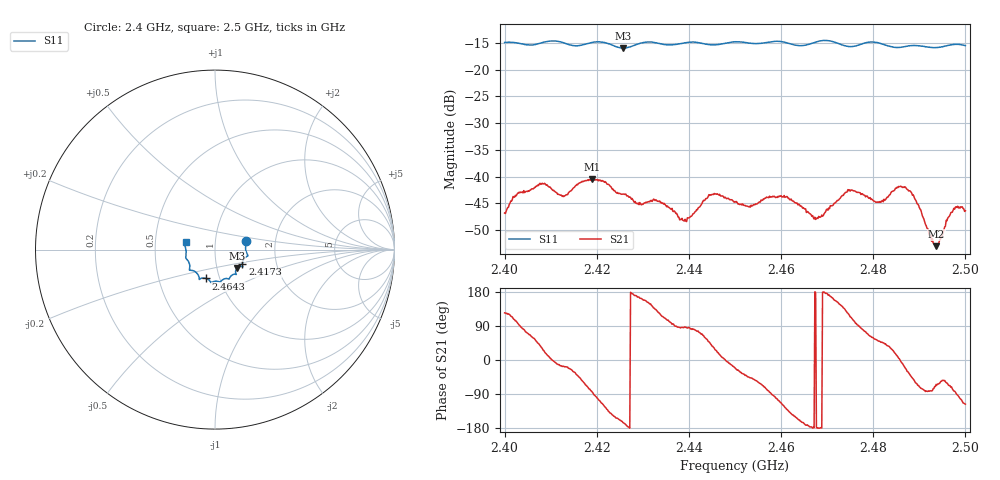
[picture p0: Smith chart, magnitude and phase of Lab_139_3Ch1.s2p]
# Hz S RI R 50
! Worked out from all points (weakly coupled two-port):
!   601 points, 2.4 GHz to 2.5 GHz, reference 50 ohm
!   highest |S21| = -40.50 dB at 2.419 GHz (marker M1); lowest = -53.1 dB at 2.4937 GHz (marker M2)
!   lowest |S11| = -15.9 dB at 2.4257 GHz (marker M3), VSWR 1.38, Z = 62.4 - j13.1 ohm
!   |S11| at or under -10 dB: start of sweep to end of sweep
!   S12 and S22 are empty: the file has one direction only
!   S11 on the Smith chart (normalised r, x): 2.4 GHz: 1.41, +0.14; 2.4173 GHz: 1.34, -0.23; 2.4643 GHz: 0.86, -0.29; 2.5 GHz: 0.72, +0.06
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2.4e9  0.1733 0.0494  -0.00257 0.00376  0 0  0 0
2.402333e9  0.1752 0.039  -0.00153 0.00649  0 0  0 0
2.407667e9  0.1763 -0.0178  0.00679 0.00537  0 0  0 0
2.412667e9  0.1756 -0.0393  0.0063 -0.00188  0 0  0 0
2.416667e9  0.1532 -0.0742  0.00537 -0.00706  0 0  0 0
2.417333e9  0.1525 -0.0817  0.00435 -0.00795  0 0  0 0
2.419e9  0.1537 -0.0948  0.000903 -0.0094  0 0  0 0
2.425667e9  0.1226 -0.1025  -0.00659 -0.00178  0 0  0 0
2.433333e9  0.1127 -0.1368  -0.00343 0.00476  0 0  0 0
2.439e9  0.0806 -0.1592  0.00021 0.00382  0 0  0 0
2.444833e9  0.057 -0.1616  0.0051 0.00435  0 0  0 0
2.45e9  0.0291 -0.1808  0.00545 -0.00206  0 0  0 0
2.460167e9  -0.0238 -0.182  -0.00282 -0.00577  0 0  0 0
2.464333e9  -0.0498 -0.1608  -0.00504 -0.00161  0 0  0 0
2.466667e9  -0.0759 -0.1597  -0.00423 -0.000226  0 0  0 0
2.475e9  -0.1062 -0.1261  -0.00293 0.00668  0 0  0 0
2.480833e9  -0.1424 -0.1105  0.00353 0.00458  0 0  0 0
2.483333e9  -0.1405 -0.0901  0.00527 0.00389  0 0  0 0
2.488167e9  -0.1609 -0.0501  0.00528 -0.00484  0 0  0 0
2.493667e9  -0.1613 -0.00574  0.000963 -0.00201  0 0  0 0
2.497333e9  -0.1703 0.0282  0.0009 -0.00476  0 0  0 0
2.5e9  -0.1634 0.0418  -0.00213 -0.00427  0 0  0 0
